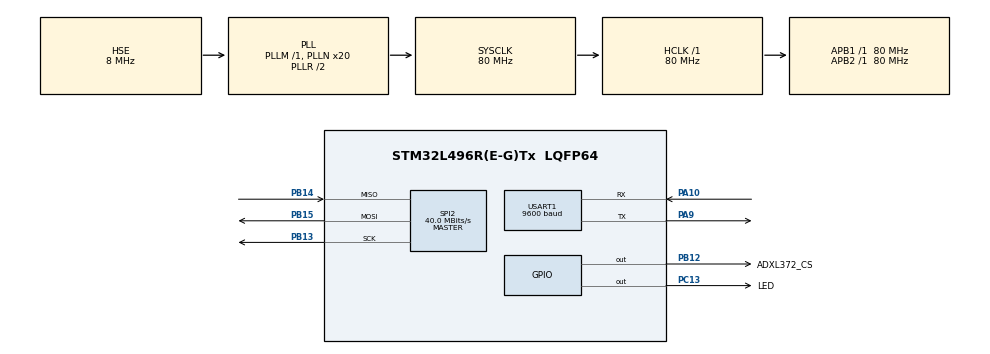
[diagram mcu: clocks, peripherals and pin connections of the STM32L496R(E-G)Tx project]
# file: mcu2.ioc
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Mcu.Family=STM32L4
Mcu.Name=STM32L496R(E-G)Tx
Mcu.Package=LQFP64
NVIC.PriorityGroup=NVIC_PRIORITYGROUP_4
NVIC.TIM2_IRQn=true\:0\:0\:false\:false\:true\:true\:true\:true
NVIC.USART1_IRQn=true\:0\:0\:false\:false\:true\:true\:true\:true
PA10.GPIO_PuPd=GPIO_PULLUP
PA10.Mode=Asynchronous
PA10.Signal=USART1_RX
PA13\ (JTMS/SWDIO).Mode=Serial_Wire
PA13\ (JTMS/SWDIO).Signal=SYS_JTMS-SWDIO
PA14\ (JTCK/SWCLK).Mode=Serial_Wire
PA14\ (JTCK/SWCLK).Signal=SYS_JTCK-SWCLK
PA9.GPIO_PuPd=GPIO_PULLUP
PA9.Mode=Asynchronous
PA9.Signal=USART1_TX
PB12.GPIO_Label=ADXL372_CS
PB12.GPIO_PuPd=GPIO_PULLUP
PB12.PinState=GPIO_PIN_SET
PB12.Signal=GPIO_Output
PB13.Mode=Full_Duplex_Master
PB13.Signal=SPI2_SCK
PB14.Mode=Full_Duplex_Master
PB14.Signal=SPI2_MISO
PB15.Mode=Full_Duplex_Master
PB15.Signal=SPI2_MOSI
PC13.GPIO_Label=LED
PC13.GPIO_PuPd=GPIO_PULLDOWN
PC13.PinState=GPIO_PIN_SET
PC13.Signal=GPIO_Output
PH0-OSC_IN\ (PH0).Mode=HSE-External-Oscillator
PH0-OSC_IN\ (PH0).Signal=RCC_OSC_IN
PH1-OSC_OUT\ (PH1).Mode=HSE-External-Oscillator
PH1-OSC_OUT\ (PH1).Signal=RCC_OSC_OUT
ProjectManager.HeapSize=0x200
ProjectManager.StackSize=0x400
ProjectManager.TargetToolchain=STM32CubeIDE
RCC.ADCFreq_Value=32000000
RCC.AHBFreq_Value=80000000
RCC.APB1Freq_Value=80000000
RCC.APB1TimFreq_Value=80000000
RCC.APB2Freq_Value=80000000
RCC.APB2TimFreq_Value=80000000
RCC.CortexFreq_Value=80000000
RCC.HCLKFreq_Value=80000000
RCC.HSE_VALUE=8000000
RCC.HSI48_VALUE=48000000
RCC.HSI_VALUE=16000000
RCC.LSE_VALUE=32768
RCC.MSI_VALUE=4000000
RCC.PLLN=20
RCC.PLLSourceVirtual=RCC_PLLSOURCE_HSE
RCC.SYSCLKFreq_VALUE=80000000
RCC.SYSCLKSource=RCC_SYSCLKSOURCE_PLLCLK
RCC.USBFreq_Value=32000000
RCC.VCOOutputFreq_Value=160000000
SPI2.CalculateBaudRate=40.0 MBits/s
SPI2.DataSize=SPI_DATASIZE_8BIT
SPI2.Direction=SPI_DIRECTION_2LINES
SPI2.FirstBit=SPI_FIRSTBIT_MSB
SPI2.Mode=SPI_MODE_MASTER
SPI2.VirtualType=VM_MASTER
TIM2.Period=20000
TIM2.Prescaler=10000
USART1.BaudRate=9600
USART1.VirtualMode-Asynchronous=VM_ASYNC
VP_TIM2_VS_ClockSourceINT.Mode=Internal
board=custom

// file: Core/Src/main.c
/* USER CODE BEGIN Header */
/* USER CODE END Header */
#include "main.h"

/* USER CODE BEGIN Includes */
#define L

/* USER CODE END Includes */

SPI_HandleTypeDef hspi2;

TIM_HandleTypeDef htim2;

UART_HandleTypeDef huart1;

/* USER CODE BEGIN PV */
volatile uint8_t uart1_cmd_ready = 0;
extern uint8_t shock_cnt[4];
/* USER CODE END PV */

void SystemClock_Config(void);
static void MX_GPIO_Init(void);
static void MX_SPI2_Init(void);
static void MX_USART1_UART_Init(void);
static void MX_TIM2_Init(void);

/* USER CODE BEGIN 0 */
void HAL_UART_RxCpltCallback(UART_HandleTypeDef *huart) {
    if (huart == &huart1) {
    	uart1_cmd_ready = 1;
        HAL_GPIO_TogglePin(LED_GPIO_Port, LED_Pin);
    }
}
int abs(int a)
{
	return a >= 0 ? a : -a;
}
/* USER CODE END 0 */

int main(void)
{

  /* MCU Configuration--------------------------------------------------------*/

  /* Reset of all peripherals, Initializes the Flash interface and the Systick. */
  HAL_Init();

  /* Configure the system clock */
  SystemClock_Config();

  /* Initialize all configured peripherals */
  MX_GPIO_Init();
  MX_SPI2_Init();
  MX_USART1_UART_Init();
  MX_TIM2_Init();

  /* Infinite loop */
  /* USER CODE BEGIN WHILE */
  adxl372_Init();
#ifdef M
  AccelTriplet_t ac_data;
  uint8_t size = 0;
  char str[100] = {0};
#endif

#ifdef L
  uint8_t cmd = 0;
  uint8_t size = 0;
  const uint8_t cmdSize = 1;
  AccelTriplet_t ac_data;
  int16_t maxG = 0;
  char str[100] = {0};

  HAL_UART_Receive_IT(&huart1, &cmd, cmdSize);
  HAL_TIM_Base_Start_IT(&htim2);
#endif

  while (1)
  {
#ifdef L
	  //HAL_Delay(1);
	  adxl372_Get_Shock();
	  adxl372_Get_Accel_data(&ac_data);
	  ac_data.x = abs(ac_data.x/10);
	  ac_data.y = abs(ac_data.y/10);
	  ac_data.z = abs(ac_data.z/10);
	  if(ac_data.x > maxG)
		  maxG = ac_data.x;
	  if(ac_data.y > maxG)
		  maxG = ac_data.y;
	  if(ac_data.z > maxG)
		  maxG = ac_data.z;
	  if(uart1_cmd_ready)
	  {
		  uart1_cmd_ready = 0;

		  sprintf(str, "shock50_100 = %d, shock100_150 = %d, shock150+ = %d, maxShock = %dG, maxG = %dG\r\n",
			  	  	  	  	  	shock_cnt[0], shock_cnt[1], shock_cnt[2], shock_cnt[3], maxG);
		  maxG = 0;
	  	  size = strlen(str);
	  	  HAL_UART_Transmit(&huart1, &size, 1, HAL_MAX_DELAY);
	  	  HAL_UART_Transmit(&huart1, (uint8_t*)str, size, HAL_MAX_DELAY);
	  	  HAL_UART_Receive_IT(&huart1, &cmd, cmdSize);
	  	  HAL_GPIO_TogglePin(LED_GPIO_Port, LED_Pin);
	  	  for(int i = 0; i < 4; i++)
	  	  {
		  	  shock_cnt[i] = 0;
	  	  }

}

#endif

#ifdef M
	  HAL_Delay(1000);
	  adxl372_Get_Highest_Peak_Accel_data(&ac_data);

	  sprintf(str, "X = %dG, Y = %dG, Z = %dG\r\n",
		  	  	  	  	 ac_data.x/10, ac_data.y/10, ac_data.z/10);
  	  size = strlen(str);
  	  HAL_UART_Transmit(&huart1, &size, 1, HAL_MAX_DELAY);
  	  HAL_UART_Transmit(&huart1, (uint8_t*)str, size, HAL_MAX_DELAY);

#endif

    /* USER CODE END WHILE */

  }
}

void SystemClock_Config(void)
{
  RCC_OscInitTypeDef RCC_OscInitStruct = {0};
  RCC_ClkInitTypeDef RCC_ClkInitStruct = {0};

  /** Configure the main internal regulator output voltage
  */
  if (HAL_PWREx_ControlVoltageScaling(PWR_REGULATOR_VOLTAGE_SCALE1) != HAL_OK)
  {
    Error_Handler();
  }

  /** Initializes the RCC Oscillators according to the specified parameters
  * in the RCC_OscInitTypeDef structure.
  */
  RCC_OscInitStruct.OscillatorType = RCC_OSCILLATORTYPE_HSE;
  RCC_OscInitStruct.HSEState = RCC_HSE_ON;
  RCC_OscInitStruct.PLL.PLLState = RCC_PLL_ON;
  RCC_OscInitStruct.PLL.PLLSource = RCC_PLLSOURCE_HSE;
  RCC_OscInitStruct.PLL.PLLM = 1;
  RCC_OscInitStruct.PLL.PLLN = 20;
  RCC_OscInitStruct.PLL.PLLP = RCC_PLLP_DIV2;
  RCC_OscInitStruct.PLL.PLLQ = RCC_PLLQ_DIV2;
  RCC_OscInitStruct.PLL.PLLR = RCC_PLLR_DIV2;
  if (HAL_RCC_OscConfig(&RCC_OscInitStruct) != HAL_OK)
  {
    Error_Handler();
  }

  /** Initializes the CPU, AHB and APB buses clocks
  */
  RCC_ClkInitStruct.ClockType = RCC_CLOCKTYPE_HCLK|RCC_CLOCKTYPE_SYSCLK
                              |RCC_CLOCKTYPE_PCLK1|RCC_CLOCKTYPE_PCLK2;
  RCC_ClkInitStruct.SYSCLKSource = RCC_SYSCLKSOURCE_PLLCLK;
  RCC_ClkInitStruct.AHBCLKDivider = RCC_SYSCLK_DIV1;
  RCC_ClkInitStruct.APB1CLKDivider = RCC_HCLK_DIV1;
  RCC_ClkInitStruct.APB2CLKDivider = RCC_HCLK_DIV1;

  if (HAL_RCC_ClockConfig(&RCC_ClkInitStruct, FLASH_LATENCY_4) != HAL_OK)
  {
    Error_Handler();
  }
}

static void MX_SPI2_Init(void)
{

  /* SPI2 parameter configuration*/
  hspi2.Instance = SPI2;
  hspi2.Init.Mode = SPI_MODE_MASTER;
  hspi2.Init.Direction = SPI_DIRECTION_2LINES;
  hspi2.Init.DataSize = SPI_DATASIZE_8BIT;
  hspi2.Init.CLKPolarity = SPI_POLARITY_LOW;
  hspi2.Init.CLKPhase = SPI_PHASE_1EDGE;
  hspi2.Init.NSS = SPI_NSS_SOFT;
  hspi2.Init.BaudRatePrescaler = SPI_BAUDRATEPRESCALER_2;
  hspi2.Init.FirstBit = SPI_FIRSTBIT_MSB;
  hspi2.Init.TIMode = SPI_TIMODE_DISABLE;
  hspi2.Init.CRCCalculation = SPI_CRCCALCULATION_DISABLE;
  hspi2.Init.CRCPolynomial = 7;
  hspi2.Init.CRCLength = SPI_CRC_LENGTH_DATASIZE;
  hspi2.Init.NSSPMode = SPI_NSS_PULSE_ENABLE;
  if (HAL_SPI_Init(&hspi2) != HAL_OK)
  {
    Error_Handler();
  }

}

static void MX_TIM2_Init(void)
{

  TIM_ClockConfigTypeDef sClockSourceConfig = {0};
  TIM_MasterConfigTypeDef sMasterConfig = {0};

  htim2.Instance = TIM2;
  htim2.Init.Prescaler = 10000;
  htim2.Init.CounterMode = TIM_COUNTERMODE_UP;
  htim2.Init.Period = 20000;
  htim2.Init.ClockDivision = TIM_CLOCKDIVISION_DIV1;
  htim2.Init.AutoReloadPreload = TIM_AUTORELOAD_PRELOAD_DISABLE;
  if (HAL_TIM_Base_Init(&htim2) != HAL_OK)
  {
    Error_Handler();
  }
  sClockSourceConfig.ClockSource = TIM_CLOCKSOURCE_INTERNAL;
  if (HAL_TIM_ConfigClockSource(&htim2, &sClockSourceConfig) != HAL_OK)
  {
    Error_Handler();
  }
  sMasterConfig.MasterOutputTrigger = TIM_TRGO_RESET;
  sMasterConfig.MasterSlaveMode = TIM_MASTERSLAVEMODE_DISABLE;
  if (HAL_TIMEx_MasterConfigSynchronization(&htim2, &sMasterConfig) != HAL_OK)
  {
    Error_Handler();
  }

}

static void MX_USART1_UART_Init(void)
{

  huart1.Instance = USART1;
  huart1.Init.BaudRate = 9600;
  huart1.Init.WordLength = UART_WORDLENGTH_8B;
  huart1.Init.StopBits = UART_STOPBITS_1;
  huart1.Init.Parity = UART_PARITY_NONE;
  huart1.Init.Mode = UART_MODE_TX_RX;
  huart1.Init.HwFlowCtl = UART_HWCONTROL_NONE;
  huart1.Init.OverSampling = UART_OVERSAMPLING_16;
  huart1.Init.OneBitSampling = UART_ONE_BIT_SAMPLE_DISABLE;
  huart1.AdvancedInit.AdvFeatureInit = UART_ADVFEATURE_NO_INIT;
  if (HAL_UART_Init(&huart1) != HAL_OK)
  {
    Error_Handler();
  }

}

static void MX_GPIO_Init(void)
{
  GPIO_InitTypeDef GPIO_InitStruct = {0};

  /* GPIO Ports Clock Enable */
  __HAL_RCC_GPIOC_CLK_ENABLE();
  __HAL_RCC_GPIOH_CLK_ENABLE();
  __HAL_RCC_GPIOB_CLK_ENABLE();
  __HAL_RCC_GPIOA_CLK_ENABLE();

  /*Configure GPIO pin Output Level */
  HAL_GPIO_WritePin(LED_GPIO_Port, LED_Pin, GPIO_PIN_SET);

  /*Configure GPIO pin Output Level */
  HAL_GPIO_WritePin(ADXL372_CS_GPIO_Port, ADXL372_CS_Pin, GPIO_PIN_SET);

  /*Configure GPIO pin : LED_Pin */
  GPIO_InitStruct.Pin = LED_Pin;
  GPIO_InitStruct.Mode = GPIO_MODE_OUTPUT_PP;
  GPIO_InitStruct.Pull = GPIO_PULLDOWN;
  GPIO_InitStruct.Speed = GPIO_SPEED_FREQ_LOW;
  HAL_GPIO_Init(LED_GPIO_Port, &GPIO_InitStruct);

  /*Configure GPIO pin : ADXL372_CS_Pin */
  GPIO_InitStruct.Pin = ADXL372_CS_Pin;
  GPIO_InitStruct.Mode = GPIO_MODE_OUTPUT_PP;
  GPIO_InitStruct.Pull = GPIO_PULLUP;
  GPIO_InitStruct.Speed = GPIO_SPEED_FREQ_LOW;
  HAL_GPIO_Init(ADXL372_CS_GPIO_Port, &GPIO_InitStruct);

}

/* USER CODE BEGIN 4 */
/*void HAL_GPIO_EXTI_Callback(uint16_t GPIO_Pin)
{
    if (GPIO_Pin == ADXL372_INT2_Pin)
    {
    	detect2g += 1;
    }
    else if (GPIO_Pin == ADXL372_INT1_Pin)
    {
    	detect1g += 1;
    }
}*/
/* USER CODE END 4 */

void Error_Handler(void)
{
}
